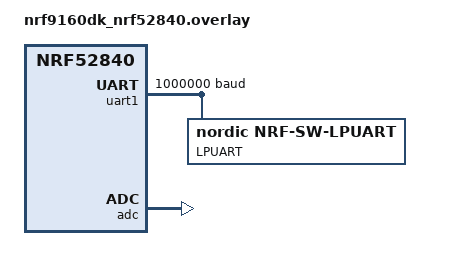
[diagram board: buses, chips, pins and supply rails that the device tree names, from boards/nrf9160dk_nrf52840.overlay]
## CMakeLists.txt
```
# SPDX-License-Identifier: Apache-2.0

cmake_minimum_required(VERSION 3.20.0)

find_package(Zephyr REQUIRED HINTS $ENV{ZEPHYR_BASE})
project(hci_lpuart)

if (CONFIG_NVS AND NOT CONFIG_SETTINGS_NVS)
  ncs_add_partition_manager_config(pm.yml.nvs)
endif()

# NORDIC SDK APP START
#target_sources(app PRIVATE ${ZEPHYR_BASE}/samples/bluetooth/hci_uart/src/main.c)
target_sources(app PRIVATE src/main.c src/sensor.c src/storage.c)
# NORDIC SDK APP END
```

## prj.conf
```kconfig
CONFIG_SERIAL=y
CONFIG_UART_INTERRUPT_DRIVEN=y
CONFIG_BT=y
CONFIG_BT_HCI_RAW=y
CONFIG_BT_HCI_RAW_H4=y
CONFIG_BT_HCI_RAW_H4_ENABLE=y
CONFIG_BT_BUF_ACL_RX_SIZE=251
CONFIG_BT_BUF_EVT_DISCARDABLE_SIZE=255

# ADC
CONFIG_ADC=y
CONFIG_ADC_NRFX_SAADC=y

# Enable MCUBOOT
CONFIG_BOOTLOADER_MCUBOOT=y
CONFIG_MCUMGR=y
CONFIG_MCUMGR_CMD_IMG_MGMT=y
CONFIG_MCUMGR_CMD_OS_MGMT=y

# NVS
CONFIG_NVS=y
CONFIG_FLASH=y
CONFIG_MPU_ALLOW_FLASH_WRITE=y
#CONFIG_FLASH_PAGE_LAYOUT=y
#CONFIG_FLASH_MAP=y
#CONFIG_NVS_LOG_LEVEL_DBG=y
CONFIG_PM_PARTITION_SIZE_NVS_STORAGE=0x00060000
# Enable synchronization between flash memory driver and MPSL.
CONFIG_SOC_FLASH_NRF_RADIO_SYNC_MPSL=y

# CONFIG_LOG_MAX_LEVEL=4
# CONFIG_ADC_LOG_LEVEL_OFF=n
```

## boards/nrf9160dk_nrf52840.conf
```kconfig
# Override prj.conf defaults

CONFIG_GPIO=y
CONFIG_MAIN_STACK_SIZE=4096
CONFIG_SYSTEM_WORKQUEUE_STACK_SIZE=4096
CONFIG_BT_MAX_CONN=16
CONFIG_BT_TINYCRYPT_ECC=n
CONFIG_BT_CTLR_DTM_HCI=y
CONFIG_BT_CTLR_ASSERT_HANDLER=y

CONFIG_UART_1_ASYNC=y
CONFIG_UART_1_INTERRUPT_DRIVEN=n
CONFIG_UART_1_NRF_HW_ASYNC=y
CONFIG_UART_1_NRF_HW_ASYNC_TIMER=2
CONFIG_NRF_SW_LPUART=y
CONFIG_NRF_SW_LPUART_INT_DRIVEN=y
```

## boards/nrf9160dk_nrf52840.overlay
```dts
/* SPDX-License-Identifier: Apache-2.0 */

#include <nrf9160dk_nrf52840_reset_on_if5.dtsi>

#include <nrf9160dk_uart1_on_if0_3.dtsi>

&uart1 {
	current-speed = <1000000>;
	/delete-property/ rts-pin;
	/delete-property/ cts-pin;

	lpuart: nrf-sw-lpuart {
		compatible = "nordic,nrf-sw-lpuart";
		status = "okay";
		label = "LPUART";
		req-pin = <15>; /* <&interface_to_nrf9160 2 0>; */
		rdy-pin = <22>; /* <&interface_to_nrf9160 3 0>; */
	};
};

/ {
	chosen {
		zephyr,bt-c2h-uart=&lpuart;
	};
};

&gpiote {
	interrupts = <6 NRF_DEFAULT_IRQ_PRIORITY>;
};

/* Disabling uart rx pin to get low power */
&uart0 {
	/delete-property/ rx-pin;
};

&adc {
	status = "okay";
};
```

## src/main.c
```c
/*
 * Copyright (c) 2016 Nordic Semiconductor ASA
 * Copyright (c) 2015-2016 Intel Corporation
 *
 * SPDX-License-Identifier: Apache-2.0
 */

#include <errno.h>
#include <stddef.h>
#include <stdio.h>
#include <string.h>

#include <zephyr.h>
#include <arch/cpu.h>
#include <sys/byteorder.h>
#include <logging/log.h>
#include <sys/util.h>

#include <device.h>
#include <init.h>
#include <drivers/uart.h>

#include <net/buf.h>
#include <bluetooth/bluetooth.h>
#include <bluetooth/l2cap.h>
#include <bluetooth/hci.h>
#include <bluetooth/buf.h>
#include <bluetooth/hci_raw.h>

#include "sensor.h"
#include "storage.h"

#define LOG_MODULE_NAME hci_uart
LOG_MODULE_REGISTER(LOG_MODULE_NAME);

static const struct device *hci_uart_dev =
	DEVICE_DT_GET(DT_CHOSEN(zephyr_bt_c2h_uart));
static K_THREAD_STACK_DEFINE(tx_thread_stack, CONFIG_BT_HCI_TX_STACK_SIZE);
static struct k_thread tx_thread_data;
static K_FIFO_DEFINE(tx_queue);

static void _timer_handler(struct k_timer *timer);
K_TIMER_DEFINE(_timer, _timer_handler, NULL);
static void _work_handler(struct k_work *work);
K_WORK_DEFINE(_work, _work_handler);

/* RX in terms of bluetooth communication */
static K_FIFO_DEFINE(uart_tx_queue);

#define H4_CMD 0x01
#define H4_ACL 0x02
#define H4_SCO 0x03
#define H4_EVT 0x04

/* Receiver states. */
#define ST_IDLE 0	/* Waiting for packet type. */
#define ST_HDR 1	/* Receiving packet header. */
#define ST_PAYLOAD 2	/* Receiving packet payload. */
#define ST_DISCARD 3	/* Dropping packet. */

/* Length of a discard/flush buffer.
 * This is sized to align with a BLE HCI packet:
 * 1 byte H:4 header + 32 bytes ACL/event data
 * Bigger values might overflow the stack since this is declared as a local
 * variable, smaller ones will force the caller to call into discard more
 * often.
 */
#define H4_DISCARD_LEN 33

static int h4_read(const struct device *uart, uint8_t *buf, size_t len)
{
	int rx = uart_fifo_read(uart, buf, len);

	LOG_DBG("read %d req %d", rx, len);

	return rx;
}

static bool valid_type(uint8_t type)
{
	return (type == H4_CMD) | (type == H4_ACL);
}

/* Function assumes that type is validated and only CMD or ACL will be used. */
static uint32_t get_len(const uint8_t *hdr_buf, uint8_t type)
{
	return (type == BT_BUF_CMD) ?
		((const struct bt_hci_cmd_hdr *)hdr_buf)->param_len :
		sys_le16_to_cpu(((const struct bt_hci_acl_hdr *)hdr_buf)->len);
}

/* Function assumes that type is validated and only CMD or ACL will be used. */
static int hdr_len(uint8_t type)
{
	return (type == H4_CMD) ?
		sizeof(struct bt_hci_cmd_hdr) : sizeof(struct bt_hci_acl_hdr);
}

static void rx_isr(void)
{
	static struct net_buf *buf;
	static int remaining;
	static uint8_t state;
	static uint8_t type;
	static uint8_t hdr_buf[MAX(sizeof(struct bt_hci_cmd_hdr),
			sizeof(struct bt_hci_acl_hdr))];
	int read;

	do {
		switch (state) {
		case ST_IDLE:
			/* Get packet type */
			read = h4_read(hci_uart_dev, &type, sizeof(type));
			/* since we read in loop until no data is in the fifo,
			 * it is possible that read = 0.
			 */
			if (read) {
				if (valid_type(type)) {
					/* Get expected header size and switch
					 * to receiving header.
					 */
					remaining = hdr_len(type);
					state = ST_HDR;
				} else {
					LOG_WRN("Unknown header %d", type);
				}
			}
			break;
		case ST_HDR:
			read = h4_read(hci_uart_dev,
				       &hdr_buf[hdr_len(type) - remaining],
				       remaining);
			remaining -= read;
			if (remaining == 0) {
				/* Header received. Allocate buffer and get
				 * payload length. If allocation fails leave
				 * interrupt. On failed allocation state machine
				 * is reset.
				 */
				buf = bt_buf_get_tx(BT_BUF_H4, K_NO_WAIT,
						    &type, sizeof(type));
				if (!buf) {
					LOG_ERR("No available command buffers!");
					state = ST_IDLE;
					return;
				}

				remaining = get_len(hdr_buf, type);

				net_buf_add_mem(buf, hdr_buf, hdr_len(type));
				if (remaining > net_buf_tailroom(buf)) {
					LOG_ERR("Not enough space in buffer");
					net_buf_unref(buf);
					state = ST_DISCARD;
				} else {
					state = ST_PAYLOAD;
				}

			}
			break;
		case ST_PAYLOAD:
			read = h4_read(hci_uart_dev, net_buf_tail(buf),
				       remaining);
			buf->len += read;
			remaining -= read;
			if (remaining == 0) {
				/* Packet received */
				LOG_DBG("putting RX packet in queue.");
				net_buf_put(&tx_queue, buf);
				state = ST_IDLE;
			}
			break;
		case ST_DISCARD:
		{
			uint8_t discard[H4_DISCARD_LEN];
			size_t to_read = MIN(remaining, sizeof(discard));

			read = h4_read(hci_uart_dev, discard, to_read);
			remaining -= read;
			if (remaining == 0) {
				state = ST_IDLE;
			}

			break;

		}
		default:
			read = 0;
			__ASSERT_NO_MSG(0);
			break;

		}
	} while (read);
}

static void tx_isr(void)
{
	static struct net_buf *buf;
	int len;

	if (!buf) {
		buf = net_buf_get(&uart_tx_queue, K_NO_WAIT);
		if (!buf) {
			uart_irq_tx_disable(hci_uart_dev);
			return;
		}
	}

	len = uart_fifo_fill(hci_uart_dev, buf->data, buf->len);
	net_buf_pull(buf, len);
	if (!buf->len) {
		net_buf_unref(buf);
		buf = NULL;
	}
}

static void bt_uart_isr(const struct device *unused, void *user_data)
{
	ARG_UNUSED(unused);
	ARG_UNUSED(user_data);

	if (!(uart_irq_rx_ready(hci_uart_dev) ||
	      uart_irq_tx_ready(hci_uart_dev))) {
		LOG_DBG("spurious interrupt");
	}

	if (uart_irq_tx_ready(hci_uart_dev)) {
		tx_isr();
	}

	if (uart_irq_rx_ready(hci_uart_dev)) {
		rx_isr();
	}
}

static void tx_thread(void *p1, void *p2, void *p3)
{
	while (1) {
		struct net_buf *buf;
		int err;

		/* Wait until a buffer is available */
		buf = net_buf_get(&tx_queue, K_FOREVER);
		/* Pass buffer to the stack */
		err = bt_send(buf);
		if (err) {
			LOG_ERR("Unable to send (err %d)", err);
			net_buf_unref(buf);
		}

		/* Give other threads a chance to run if tx_queue keeps getting
		 * new data all the time.
		 */
		k_yield();
	}
}

static int h4_send(struct net_buf *buf)
{
	LOG_DBG("buf %p type %u len %u", buf, bt_buf_get_type(buf),
		    buf->len);

	net_buf_put(&uart_tx_queue, buf);
	uart_irq_tx_enable(hci_uart_dev);

	return 0;
}

#if defined(CONFIG_BT_CTLR_ASSERT_HANDLER)
void bt_ctlr_assert_handle(char *file, uint32_t line)
{
	uint32_t len = 0U, pos = 0U;

	/* Disable interrupts, this is unrecoverable */
	(void)irq_lock();

	uart_irq_rx_disable(hci_uart_dev);
	uart_irq_tx_disable(hci_uart_dev);

	if (file) {
		while (file[len] != '\0') {
			if (file[len] == '/') {
				pos = len + 1;
			}
			len++;
		}
		file += pos;
		len -= pos;
	}

	uart_poll_out(hci_uart_dev, H4_EVT);
	/* Vendor-Specific debug event */
	uart_poll_out(hci_uart_dev, 0xff);
	/* 0xAA + strlen + \0 + 32-bit line number */
	uart_poll_out(hci_uart_dev, 1 + len + 1 + 4);
	uart_poll_out(hci_uart_dev, 0xAA);

	if (len) {
		while (*file != '\0') {
			uart_poll_out(hci_uart_dev, *file);
			file++;
		}
		uart_poll_out(hci_uart_dev, 0x00);
	}

	uart_poll_out(hci_uart_dev, line >> 0 & 0xff);
	uart_poll_out(hci_uart_dev, line >> 8 & 0xff);
	uart_poll_out(hci_uart_dev, line >> 16 & 0xff);
	uart_poll_out(hci_uart_dev, line >> 24 & 0xff);

	while (1) {
	}
}
#endif /* CONFIG_BT_CTLR_ASSERT_HANDLER */

static int hci_uart_init(const struct device *unused)
{
	LOG_DBG("");

	if (!device_is_ready(hci_uart_dev)) {
		LOG_ERR("HCI UART %s is not ready", hci_uart_dev->name);
		return -EINVAL;
	}

	uart_irq_rx_disable(hci_uart_dev);
	uart_irq_tx_disable(hci_uart_dev);

	uart_irq_callback_set(hci_uart_dev, bt_uart_isr);

	uart_irq_rx_enable(hci_uart_dev);

	return 0;
}

SYS_DEVICE_DEFINE("hci_uart", hci_uart_init, NULL,
		  APPLICATION, CONFIG_KERNEL_INIT_PRIORITY_DEVICE);

static void _work_handler(struct k_work *work)
{
    ARG_UNUSED(work);

	int ret;
    int16_t adc_buffer[2] = {0};
    uint32_t tilt_count = 0;

    LOG_INF("data_acquisition_work_handler().");
    // LOG_INF("  k_is_in_isr(): %d.", k_is_in_isr());

    ret = measure(adc_buffer);
    if(ret != 0) {
        LOG_ERR(" measure(), error: %d.", ret);
    }

    tilt_count = (uint32_t)get_tilt_count();

	LOG_INF("adc0: %d, adc1: %d, tilt_count: %d.", adc_buffer[0], adc_buffer[1], tilt_count);	

	// // Write/Read to/from flash random data.
	int64_t buf[20];
	int64_t ticks = k_uptime_ticks();
	for(int i = 0; i < 20; i++) {
		buf[i] = ticks;
	}
	storage_write(0, (uint8_t *)buf, sizeof(buf));
	storage_read(0, (uint8_t *)buf, sizeof(buf));
	// compare.
	for(int i =0; i < 20; i++) {
		if(buf[i] != ticks) {
			LOG_ERR("Invalid value: buf[%dth], real:%lld ,expected:%lld.", i, buf[i], ticks);
			break;
		}
	}
}

void _timer_handler(struct k_timer *timer)
{
    ARG_UNUSED(timer);
    k_work_submit(&_work);
}	

void main(void)
{
	/* incoming events and data from the controller */
	static K_FIFO_DEFINE(rx_queue);
	int err;

	LOG_DBG("Start");
	__ASSERT(hci_uart_dev, "UART device is NULL");

	/* Enable the raw interface, this will in turn open the HCI driver */
	bt_enable_raw(&rx_queue);

	if (IS_ENABLED(CONFIG_BT_WAIT_NOP)) {
		/* Issue a Command Complete with NOP */
		int i;

		const struct {
			const uint8_t h4;
			const struct bt_hci_evt_hdr hdr;
			const struct bt_hci_evt_cmd_complete cc;
		} __packed cc_evt = {
			.h4 = H4_EVT,
			.hdr = {
				.evt = BT_HCI_EVT_CMD_COMPLETE,
				.len = sizeof(struct bt_hci_evt_cmd_complete),
			},
			.cc = {
				.ncmd = 1,
				.opcode = sys_cpu_to_le16(BT_OP_NOP),
			},
		};

		for (i = 0; i < sizeof(cc_evt); i++) {
			uart_poll_out(hci_uart_dev,
				      *(((const uint8_t *)&cc_evt)+i));
		}
	}

	/* Spawn the TX thread and start feeding commands and data to the
	 * controller
	 */
	k_thread_create(&tx_thread_data, tx_thread_stack,
			K_THREAD_STACK_SIZEOF(tx_thread_stack), tx_thread,
			NULL, NULL, NULL, K_PRIO_COOP(7), 0, K_NO_WAIT);
	k_thread_name_set(&tx_thread_data, "HCI uart TX");

	// Starting a measurement work.
	init_sensor();
	init_storage();

    k_timer_start(&_timer, K_SECONDS(20), K_SECONDS(10));

	while (1) {
		struct net_buf *buf;

		buf = net_buf_get(&rx_queue, K_FOREVER);
		err = h4_send(buf);
		if (err) {
			LOG_ERR("Failed to send");	
		}

		static int64_t ticks = 0;

		// Write/Read to/from flash random data for every 10 seconds.
		// int64_t now_ticks = k_uptime_ticks();
		// if( (now_ticks - ticks) > 10 * 1000) {	
		// 	LOG_INF("write/read nvs.");
		// 	ticks = now_ticks;

		// 	int64_t buf[20];
		// 	for(int i = 0; i < 20; i++) {
		// 		buf[i] = ticks;
		// 	}
		// 	storage_write(0, (uint8_t *)buf, sizeof(buf));
		// 	storage_read(0, (uint8_t *)buf, sizeof(buf));
		// 	// compare.
		// 	for(int i =0; i < 20; i++) {
		// 		if(buf[i] != ticks) {
		// 			LOG_ERR("Invalid value: buf[%dth], real:%lld ,expected:%lld.", i, buf[i], ticks);
		// 			break;
		// 		}
		// 	}
		// }				
	}
}
```

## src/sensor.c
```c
/**
 * @file sensor.c
 * 
 */
#include <stdio.h>

#include "sensor.h"

#include <zephyr.h>
#include <sys/byteorder.h>
#include <sys/crc.h>
#include <drivers/adc.h>
#include <drivers/gpio.h>
#include <hal/nrf_saadc.h>
#include <net/buf.h>

#include <logging/log.h>
LOG_MODULE_DECLARE(hci_uart);

static const struct device *gpio_dev = DEVICE_DT_GET(DT_NODELABEL(gpio0));
static struct gpio_callback gpio_cb;
static atomic_t _tilt_count = ATOMIC_INIT(0);

#define TILT_SENSOR_GPIO_PIN 6

static void invoke_gpio_callback_handler(struct k_work *work);
K_WORK_DELAYABLE_DEFINE(gpio_work, invoke_gpio_callback_handler);

static const struct device *adc_dev = DEVICE_DT_GET(DT_NODELABEL(adc));

// P0.30/AIN6 Pressure sensor
static const struct adc_channel_cfg channel_0_cfg = {
    .gain = ADC_GAIN_1_4, // 0.6V / (1/4) = 2.4V Input range
    .reference = ADC_REF_INTERNAL,
    .acquisition_time = ADC_ACQ_TIME(ADC_ACQ_TIME_MICROSECONDS, 40),
    .channel_id = 0,
    .input_positive = NRF_SAADC_INPUT_AIN6,
};
// P0.05/AIN3 Potention meter
static const struct adc_channel_cfg channel_1_cfg = {
    .gain = ADC_GAIN_1_4, // Input range, VDD
    .reference = ADC_REF_VDD_1_4,
    .acquisition_time = ADC_ACQ_TIME(ADC_ACQ_TIME_MICROSECONDS, 40),
    .channel_id = 1,
    .input_positive = NRF_SAADC_INPUT_AIN3,
};

/**
 * Private method
 */

static void invoke_gpio_callback_handler(struct k_work *work)
{
    LOG_INF("TILT SENSOR detected.");
    atomic_inc(&_tilt_count);
}

static void gpio_callback(const struct device *dev, struct gpio_callback *gpio_cb, uint32_t pins)
{
    int ret;
    // Using a delayed work to remove debounse.
    k_work_cancel_delayable(&gpio_work);
    ret = k_work_schedule(&gpio_work, K_MSEC(300));
	if(ret < 0) {
		LOG_ERR("k_work_schedule(), error: %d.", ret);
	}    
}

static int init_adc(void)
{
    int err;

    if(adc_dev == NULL) {
        LOG_ERR("Can not get an adc device.");
        return -1;
    }    

    err = adc_channel_setup(adc_dev, &channel_0_cfg);
    if(err) {
        LOG_ERR("Setting up the ADC channel 0 failed.");
        return err;
    }

    err = adc_channel_setup(adc_dev, &channel_1_cfg);
    if(err) {
        LOG_ERR("Setting up the ADC channel 1 failed.");
        return err;
    }

    return 0;
}

/**
 * Public method
 * 
 */

void init_sensor(void)
{
    int ret;

    LOG_INF("init sensors...");

    // check gpio.
    if(gpio_dev == NULL) {
        LOG_ERR("Can not get an gpio0 device.");
    }    
	if (!device_is_ready(gpio_dev)) {
		LOG_INF("GPIO0 device is not ready.");
	}    

	/* Configure pin as input. */
	ret = gpio_pin_configure(gpio_dev, TILT_SENSOR_GPIO_PIN, GPIO_INPUT | GPIO_PULL_DOWN | GPIO_INT_DEBOUNCE);
	if (ret) {
		LOG_INF("failed gpio_pin_configure(), error: %d.", ret);
	}

    // setting gpio level sense.
	gpio_init_callback(&gpio_cb, gpio_callback, BIT(TILT_SENSOR_GPIO_PIN));
	ret = gpio_add_callback(gpio_dev, &gpio_cb);
	if (ret) {
		LOG_ERR("GPIO_%d add callback error: %d", TILT_SENSOR_GPIO_PIN, ret);
	}
	ret = gpio_pin_interrupt_configure(gpio_dev, TILT_SENSOR_GPIO_PIN, GPIO_INT_EDGE_RISING);
	if (ret) {
		LOG_ERR("GPIO_%d enable callback error: %d", TILT_SENSOR_GPIO_PIN, ret);
	}

    init_adc();
}

int measure(int16_t *p_buffer) 
{
    static struct adc_sequence sequence =  {
        .options      = NULL, 
        .channels     = BIT(0) | BIT(1),
        .buffer       = NULL,
        .buffer_size  = 4,
        .resolution   = 10,
        .oversampling = 0,
        .calibrate    = true
    };

    sequence.buffer = (void *)p_buffer;

    int err;
    err = adc_read(adc_dev, &sequence);
    if(err) {
        LOG_ERR("ADC read failed, error: %d.", err);
        return err;
    }    

    sequence.calibrate = false;

    return 0;
}

int get_tilt_count(void)
{
    return (int)atomic_get(&_tilt_count);
}
```

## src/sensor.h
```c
/**
 * @file sensor.h
 * 
 */
#ifndef _SENSOR_H_
#define _SENSOR_H_

#include <zephyr/types.h>

void init_sensor(void);

int measure(int16_t *p_buffer);

int get_tilt_count(void);

#endif /* _SENSOR_H_ */
```

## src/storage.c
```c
/**
 * @file storage.c
 * 
 */
#include "storage.h"

#include <zephyr.h>
#include <kernel.h>
#include <net/buf.h>
#include <sys/byteorder.h>

#include <drivers/flash.h>
#include <storage/flash_map.h>
#include <fs/nvs.h>

#include <logging/log.h>
LOG_MODULE_DECLARE(hci_uart);

K_FIFO_DEFINE(storage_fifo);
NET_BUF_POOL_DEFINE(storage_pool, 12, 400, 0, NULL);

#define NVS_SECTOR_SIZE  (DT_PROP(DT_CHOSEN(zephyr_flash), erase_block_size))
#define NVS_SECTOR_COUNT 96
#define NVS_STORAGE_OFFSET FLASH_AREA_OFFSET(storage)

static struct nvs_fs fs = {
	.sector_size  = NVS_SECTOR_SIZE,
	.sector_count = NVS_SECTOR_COUNT,
	.offset       = NVS_STORAGE_OFFSET,
};

/**
 * Public method
 */
void init_storage(void)
{
	int ret;

    LOG_INF("init_storage:");
    LOG_INF("  sector size 0x%08x, count: 0x%08x.", NVS_SECTOR_SIZE, NVS_SECTOR_COUNT);    
    LOG_INF("  storage_offset: 0x%08x.", NVS_STORAGE_OFFSET);

	ret = nvs_init(&fs, DT_CHOSEN_ZEPHYR_FLASH_CONTROLLER_LABEL);
	if (ret < 0) {
		LOG_INF("Cannot initialize NVS.");
	}
}

int storage_write(uint16_t id, uint8_t *p_src, int len)
{
    LOG_INF("storage_write(), id: %d, len: %d.", id, len);

    int ret;

    ret = nvs_write(&fs, id, (void *)p_src, len);
    LOG_INF("nvs_write(), len: %d. ret: %d.", len, ret);

    return ret;
}

int storage_read(uint16_t id, uint8_t *p_dst, int len)
{
    LOG_INF("storage_read(), id: %d, len: %d.", id, len);

	int ret = nvs_read(&fs, id, (void *)p_dst, len);
    if(ret < 0) {
        LOG_ERR("nvs_read(), error: %d.", ret);
    }
    return ret;
}
```

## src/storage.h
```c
/**
 * @file storage.h
 * 
 */
#ifndef _STORAGE_H_
#define _STORAGE_H_

#include <kernel.h>
#include <zephyr/types.h>

void init_storage(void);
int storage_write(uint16_t id, uint8_t *p_src, int len);
int storage_read(uint16_t id, uint8_t *p_dst, int len);

#endif /* _STORAGE_H_ */
```
